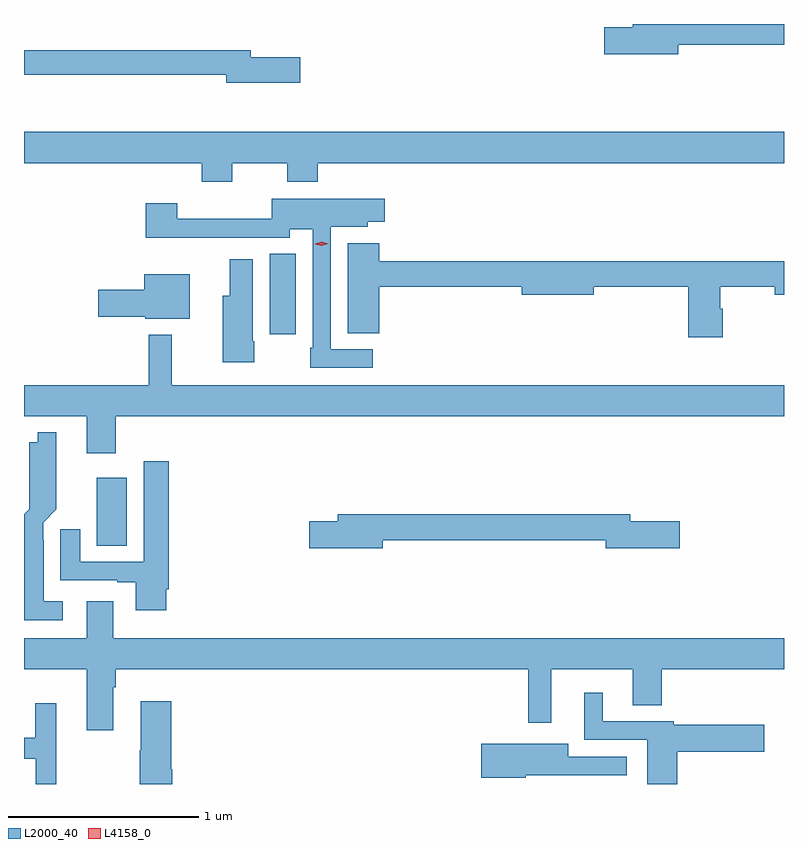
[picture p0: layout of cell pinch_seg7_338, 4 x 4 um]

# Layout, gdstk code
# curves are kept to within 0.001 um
import gdstk
lib = gdstk.Library(unit=1e-6, precision=1e-09)
def R(c, l, rs):  # rectangles x0, y0, x1, y1
    for r in rs: c.add(gdstk.rectangle(r[:2], r[2:], *l))
def P(c, l, *ps):  # polygons
    for p in ps: c.add(gdstk.Polygon(p, *l))
L2000_40 = (2000, 40)
L4158_0 = (4158, 0)

pinch_seg7_338 = lib.new_cell('pinch_seg7_338')
R(pinch_seg7_338, L2000_40, [(399.983,1033.234,400.141,1033.591), (400.892,1034.346,401.029,1034.771)])
P(pinch_seg7_338, L2000_40, [(403.042,1035.87),(403.599,1035.87),(403.599,1035.979),(403.535,1035.979),(403.535,1035.98),(402.803,1035.98),(402.803,1035.962),(402.654,1035.962),(402.654,1035.82),(403.042,1035.82)],
  [(401.053,1035.805),(400.792,1035.805),(400.792,1035.842),(399.599,1035.842),(399.599,1035.714),(400.664,1035.714),(400.664,1035.671),(401.053,1035.671)],
  [(400.695,1035.248),(400.984,1035.248),(400.984,1035.149),(401.144,1035.149),(401.144,1035.248),(403.599,1035.248),(403.599,1035.412),(399.599,1035.412),(399.599,1035.248),(400.535,1035.248),(400.535,1035.149),(400.695,1035.149)],
  [(401.434,1034.268),(401.214,1034.268),(401.214,1034.912),(401.409,1034.912),(401.409,1034.939),(401.497,1034.939),(401.497,1035.061),(400.902,1035.061),(400.902,1034.954),(400.406,1034.954),(400.406,1035.037),(400.241,1035.037),(400.241,1034.855),(400.489,1034.855),(400.489,1034.856),(400.998,1034.856),(400.998,1034.9),(401.118,1034.9),(401.118,1034.275),(401.106,1034.275),(401.106,1034.172),(401.434,1034.172)],
  [(403.277,1034.481),(403.264,1034.481),(403.264,1034.596),(403.55,1034.596),(403.55,1034.554),(403.599,1034.554),(403.599,1034.732),(401.47,1034.732),(401.47,1034.827),(401.303,1034.827),(401.303,1034.353),(401.47,1034.353),(401.47,1034.596),(402.218,1034.596),(402.218,1034.554),(402.598,1034.554),(402.598,1034.596),(403.094,1034.596),(403.094,1034.331),(403.277,1034.331)],
  [(400.812,1034.311),(400.804,1034.311),(400.804,1034.743),(400.682,1034.743),(400.682,1034.551),(400.646,1034.551),(400.646,1034.199),(400.812,1034.199)],
  [(400.471,1034.662),(400.232,1034.662),(400.232,1034.582),(399.99,1034.582),(399.99,1034.44),(400.236,1034.44),(400.236,1034.429),(400.471,1034.429)],
  [(400.082,1033.916),(403.599,1033.916),(403.599,1034.08),(400.376,1034.08),(400.376,1034.344),(400.255,1034.344),(400.255,1034.08),(399.599,1034.08),(399.599,1033.916),(399.929,1033.916),(399.929,1033.722),(400.082,1033.722)],
  [(399.802,1032.943),(399.703,1032.943),(399.703,1033.262),(399.699,1033.262),(399.699,1033.356),(399.769,1033.426),(399.768,1033.831),(399.671,1033.831),(399.671,1033.78),(399.626,1033.78),(399.626,1033.426),(399.599,1033.399),(399.599,1032.842),(399.802,1032.842)],
  [(400.348,1033.006),(400.361,1033.006),(400.361,1033.68),(400.229,1033.68),(400.229,1033.149),(399.895,1033.149),(399.895,1033.321),(399.791,1033.321),(399.791,1033.053),(400.091,1033.053),(400.091,1033.041),(400.187,1033.041),(400.187,1032.894),(400.348,1032.894)],
  [(401.488,1033.264),(402.662,1033.264),(402.662,1033.222),(403.051,1033.222),(403.051,1033.364),(402.79,1033.364),(402.79,1033.4),(401.249,1033.4),(401.249,1033.364),(401.1,1033.364),(401.1,1033.222),(401.488,1033.222)],
  [(400.069,1032.488),(400.082,1032.488),(400.082,1032.584),(402.252,1032.584),(402.252,1032.303),(402.373,1032.303),(402.373,1032.584),(402.803,1032.584),(402.803,1032.394),(402.956,1032.394),(402.956,1032.584),(403.599,1032.584),(403.599,1032.748),(400.069,1032.748),(400.069,1032.943),(399.929,1032.943),(399.929,1032.748),(399.599,1032.748),(399.599,1032.584),(399.929,1032.584),(399.929,1032.264),(400.069,1032.264)],
  [(403.037,1032.149),(403.495,1032.149),(403.495,1032.291),(403.02,1032.291),(403.02,1032.309),(402.646,1032.309),(402.646,1032.46),(402.548,1032.46),(402.548,1032.213),(402.878,1032.213),(402.878,1031.98),(403.037,1031.98)],
  [(400.378,1032.057),(400.373,1032.057),(400.373,1032.415),(400.214,1032.415),(400.214,1032.157),(400.207,1032.157),(400.207,1031.98),(400.378,1031.98)],
  [(399.769,1032.406),(399.659,1032.406),(399.659,1032.223),(399.599,1032.223),(399.599,1032.114),(399.66,1032.114),(399.66,1031.98),(399.769,1031.98)],
  [(402.24,1032.026),(402.459,1032.026),(402.459,1032.027),(402.772,1032.027),(402.772,1032.123),(402.463,1032.123),(402.463,1032.192),(402.006,1032.192),(402.006,1032.014),(402.24,1032.014)])
P(pinch_seg7_338, L4158_0, [(401.166,1034.813),(401.131,1034.822),(401.131,1034.823),(401.131,1034.823),(401.166,1034.833),(401.2,1034.824),(401.201,1034.824),(401.2,1034.824)])

lib.write_gds('pinch_seg7_338.gds')
